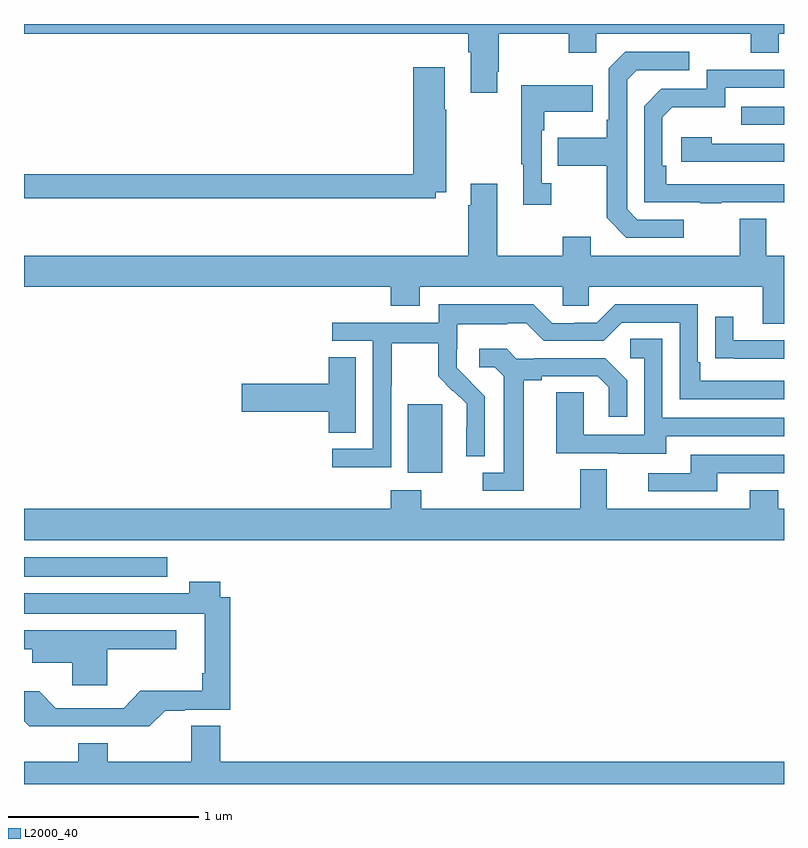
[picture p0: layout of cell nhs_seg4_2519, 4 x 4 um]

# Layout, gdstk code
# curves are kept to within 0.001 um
import gdstk
lib = gdstk.Library(unit=1e-6, precision=1e-09)
def R(c, l, rs):  # rectangles x0, y0, x1, y1
    for r in rs: c.add(gdstk.rectangle(r[:2], r[2:], *l))
def P(c, l, *ps):  # polygons
    for p in ps: c.add(gdstk.Polygon(p, *l))
L2000_40 = (2000, 40)

nhs_seg4_2519 = lib.new_cell('nhs_seg4_2519')
R(nhs_seg4_2519, L2000_40, [(243,765.992,243.754,766.093), (245.021,766.538,245.2,766.899), (246.775,768.369,247,768.465)])
P(nhs_seg4_2519, L2000_40, [(245.491,768.649),(245.499,768.649),(245.499,768.848),(245.866,768.848),(245.866,768.749),(246.012,768.749),(246.012,768.848),(246.826,768.848),(246.826,768.749),(246.973,768.749),(246.973,768.848),(247,768.848),(247,768.9),(243,768.9),(243,768.848),(245.339,768.848),(245.339,768.752),(245.351,768.752),(245.351,768.537),(245.491,768.537)],
  [(246.472,767.871),(246.228,767.871),(246.174,767.925),(246.174,768.606),(246.225,768.657),(246.502,768.657),(246.502,768.753),(246.165,768.753),(246.078,768.666),(246.078,768.397),(246.066,768.397),(246.066,768.301),(245.809,768.301),(245.809,768.154),(246.066,768.154),(246.066,767.881),(246.171,767.775),(246.472,767.775)],
  [(245.166,768.014),(245.223,768.014),(245.223,768.449),(245.215,768.449),(245.215,768.673),(245.048,768.673),(245.048,768.11),(243,768.11),(243,767.982),(245.166,767.982)],
  [(246.671,767.961),(247,767.961),(247,768.057),(246.38,768.057),(246.38,768.154),(246.36,768.154),(246.36,768.408),(246.413,768.461),(246.69,768.461),(246.69,768.564),(247,768.564),(247,768.66),(246.594,768.66),(246.594,768.558),(246.354,768.558),(246.264,768.468),(246.264,767.961),(246.559,767.961),(246.559,767.956),(246.671,767.956)],
  [(245.776,768.062),(245.724,768.062),(245.724,768.341),(245.737,768.341),(245.737,768.437),(245.993,768.437),(245.993,768.577),(245.616,768.577),(245.616,768.161),(245.627,768.161),(245.627,767.949),(245.776,767.949)],
  [(247,768.27),(246.62,768.27),(246.62,768.304),(246.459,768.304),(246.459,768.174),(247,768.174)],
  [(247,767.68),(246.907,767.68),(246.907,767.875),(246.767,767.875),(246.767,767.68),(245.983,767.68),(245.983,767.779),(245.836,767.779),(245.836,767.68),(245.491,767.68),(245.491,768.058),(245.351,768.058),(245.351,767.945),(245.339,767.945),(245.339,767.68),(243,767.68),(243,767.516),(244.931,767.516),(244.931,767.417),(245.083,767.417),(245.083,767.516),(245.835,767.516),(245.835,767.418),(245.973,767.418),(245.973,767.516),(246.887,767.516),(246.887,767.322),(247,767.322)],
  [(244.932,766.996),(244.935,766.996),(244.935,767.22),(245.179,767.22),(245.179,767.045),(245.256,766.968),(245.259,766.971),(245.33,766.901),(245.33,766.778),(245.328,766.778),(245.328,766.624),(245.424,766.624),(245.424,766.942),(245.278,767.09),(245.278,767.187),(245.28,767.187),(245.28,767.321),(245.543,767.321),(245.543,767.325),(245.643,767.325),(245.736,767.232),(246.051,767.232),(246.147,767.328),(246.45,767.328),(246.45,766.926),(247,766.926),(247,767.022),(246.559,767.022),(246.559,767.119),(246.546,767.119),(246.546,767.424),(246.111,767.424),(246.015,767.328),(245.897,767.328),(245.897,767.325),(245.781,767.325),(245.681,767.425),(245.184,767.425),(245.184,767.328),(244.623,767.328),(244.623,767.232),(244.836,767.232),(244.836,766.665),(244.623,766.665),(244.623,766.567),(244.932,766.567)],
  [(247,767.235),(246.733,767.235),(246.733,767.359),(246.637,767.359),(246.637,767.14),(246.739,767.14),(246.739,767.139),(247,767.139)],
  [(246.379,766.731),(247,766.731),(247,766.827),(246.36,766.827),(246.36,767.243),(246.192,767.243),(246.192,767.142),(246.264,767.142),(246.264,766.737),(245.946,766.737),(245.946,766.961),(245.801,766.961),(245.801,766.641),(246.125,766.641),(246.125,766.637),(246.379,766.637)],
  [(245.629,767.024),(245.725,767.024),(245.725,767.046),(246.02,767.046),(246.077,766.989),(246.077,766.833),(246.174,766.833),(246.174,767.026),(246.058,767.142),(245.686,767.142),(245.686,767.139),(245.592,767.139),(245.54,767.191),(245.397,767.191),(245.397,767.094),(245.478,767.094),(245.525,767.047),(245.525,766.539),(245.415,766.539),(245.415,766.443),(245.629,766.443)],
  [(244.747,767.147),(244.604,767.147),(244.604,767.006),(244.146,767.006),(244.146,766.859),(244.604,766.859),(244.604,766.75),(244.747,766.75)],
  [(246.649,766.536),(247,766.536),(247,766.632),(246.509,766.632),(246.509,766.536),(246.285,766.536),(246.285,766.44),(246.649,766.44)],
  [(247,766.348),(246.969,766.348),(246.969,766.447),(246.821,766.447),(246.821,766.348),(246.067,766.348),(246.067,766.556),(245.927,766.556),(245.927,766.348),(245.091,766.348),(245.091,766.447),(244.931,766.447),(244.931,766.348),(243,766.348),(243,766.184),(247,766.184)],
  [(243.127,765.204),(243.66,765.203),(243.743,765.286),(243.847,765.286),(243.847,765.291),(244.085,765.291),(244.085,765.883),(244.034,765.883),(244.034,765.964),(243.869,765.964),(243.869,765.904),(243,765.904),(243,765.797),(243.95,765.797),(243.95,765.484),(243.938,765.484),(243.938,765.39),(243.613,765.39),(243.524,765.3),(243.168,765.3),(243.08,765.388),(243,765.388),(243,765.23),(243.027,765.203)],
  [(243.437,765.61),(243.802,765.61),(243.802,765.708),(243,765.708),(243,765.61),(243.044,765.61),(243.044,765.539),(243.254,765.539),(243.254,765.42),(243.437,765.42)],
  [(247,765.016),(244.034,765.016),(244.034,765.206),(243.881,765.206),(243.881,765.016),(243.441,765.016),(243.441,765.115),(243.286,765.115),(243.286,765.016),(243,765.016),(243,764.9),(247,764.9)])

lib.write_gds('nhs_seg4_2519.gds')
